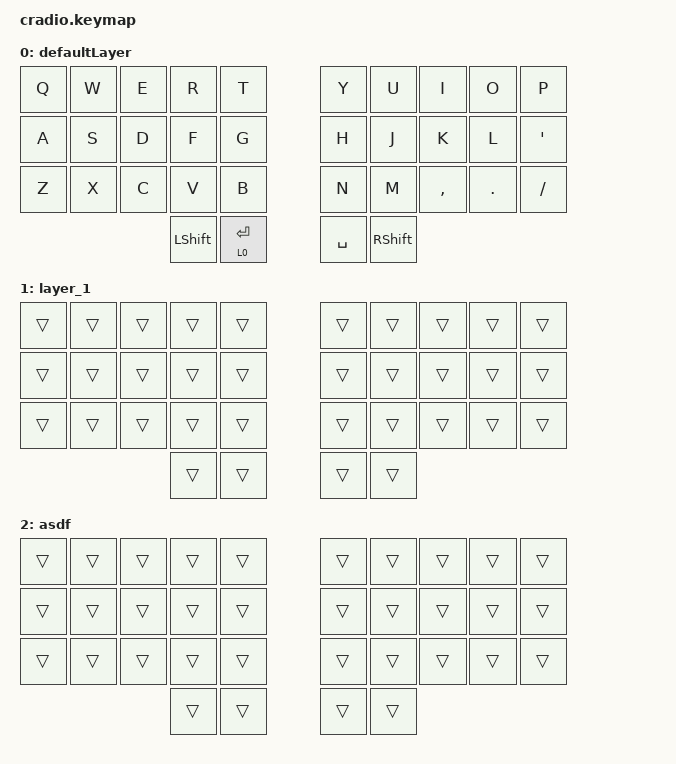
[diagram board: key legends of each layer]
/*
 * Copyright (c) 2020 The ZMK Contributors
 *
 * SPDX-License-Identifier: MIT
 */

#include <behaviors.dtsi>
#include <dt-bindings/zmk/keys.h>
#include "keymap_italian.h"

// Layer definitions

#define BASE 0
#define SYM 1
#define EXT 2
#define FNC 3
#define SYM2 4
#define ACCENT 5
#define SETTINGS 6

// -----------------

&mt {
    //  flavor = "tap-preferred";
    // tapping_term_ms = <200>;
};

&sk { ignore-modifiers; };

/ {
    macros {
        // sometimes my device thinks a modifier is being held down
        // pressing all modifiers fixes it.

        unstick: unstick {
            label = "ZM_unstick";
            compatible = "zmk,behavior-macro";
            #binding-cells = <0>;
            bindings = <&kp LSHIFT &kp RSHIFT &kp LCTRL &kp RCTRL &kp LALT &kp RALT &kp LGUI &kp RGUI>;
        };

        new_macro: new_macro {
            compatible = "zmk,behavior-macro";
            #binding-cells = <0>;
            bindings = <&none>, <&macro_press>, <&kp>;

            label = "NEW_MACRO";
        };
    };

    combos {
        compatible = "zmk,combos";

        // both right thumb keys

        combo_accent {
            timeout-ms = <300>;
            key-positions = <32 33>;
            bindings = <&mo 0>;
        };

        // internal-left & external-right thumb keys

        combo_sym2 {
            timeout-ms = <200>;
            key-positions = <31 33>;
            bindings = <&mo 0>;
        };

        // both left thumb keys

        combo_settings {
            timeout-ms = <300>;
            key-positions = <30 31>;
            bindings = <&mo 0>;
        };
    };

    keymap {
        compatible = "zmk,keymap";

        // Base alpha layer

        defaultLayer {
            bindings = <
&kp Q  &kp W  &kp E  &kp R           &kp T          &kp Y      &kp U            &kp I      &kp O    &kp P
&kp A  &kp S  &kp D  &kp F           &kp G          &kp H      &kp J            &kp K      &kp L    &kp SQT
&kp Z  &kp X  &kp C  &kp V           &kp B          &kp N      &kp M            &kp COMMA  &kp DOT  &kp SLASH
                     &kp LEFT_SHIFT  &lt 0 ENTER    &kp SPACE  &kp RIGHT_SHIFT
            >;
        };

        // Numbers and high frequency symbols
        // Main modifiers and arrow keys
        // Function keys with modifiers
        // Low frequency symbols.
        // Used to type regional accents.
        // Used to change the keyboard's settings.

        layer_1 {
            bindings = <
&trans  &trans  &trans  &trans  &trans    &trans  &trans  &trans  &trans  &trans
&trans  &trans  &trans  &trans  &trans    &trans  &trans  &trans  &trans  &trans
&trans  &trans  &trans  &trans  &trans    &trans  &trans  &trans  &trans  &trans
                        &trans  &trans    &trans  &trans
            >;
        };

        asdf {
            bindings = <
&trans  &trans  &trans  &trans  &trans    &trans  &trans  &trans  &trans  &trans
&trans  &trans  &trans  &trans  &trans    &trans  &trans  &trans  &trans  &trans
&trans  &trans  &trans  &trans  &trans    &trans  &trans  &trans  &trans  &trans
                        &trans  &trans    &trans  &trans
            >;
        };
    };
};
